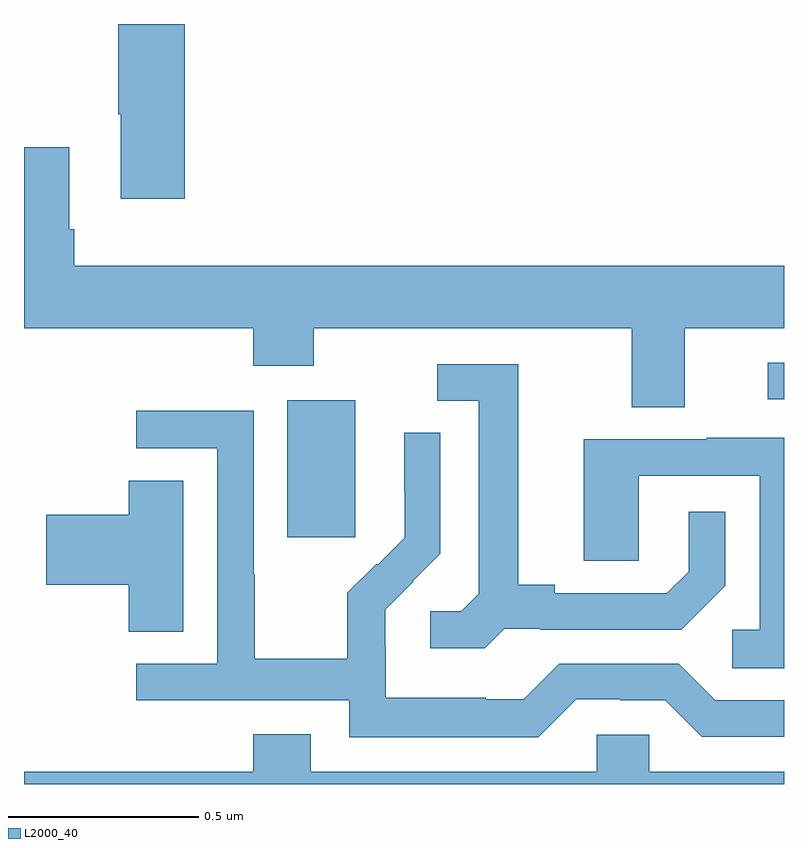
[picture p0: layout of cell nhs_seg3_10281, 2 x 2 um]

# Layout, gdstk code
import gdstk
lib = gdstk.Library(unit=1e-6, precision=1e-09)
def R(c, l, rs):  # rectangles x0, y0, x1, y1
    for r in rs: c.add(gdstk.rectangle(r[:2], r[2:], *l))
def P(c, l, *ps):  # polygons
    for p in ps: c.add(gdstk.Polygon(p, *l))
L2000_40 = (2000, 40)

nhs_seg3_10281 = lib.new_cell('nhs_seg3_10281')
R(nhs_seg3_10281, L2000_40, [(239.693,683.049,239.872,683.41), (240.957,683.412,241,683.508)])
P(nhs_seg3_10281, L2000_40, [(239.423,684.4),(239.248,684.4),(239.248,684.163),(239.255,684.163),(239.255,683.94),(239.423,683.94)],
  [(240.739,683.6),(241,683.6),(241,683.764),(239.132,683.764),(239.132,683.86),(239.119,683.86),(239.119,684.076),(239,684.076),(239,683.6),(239.603,683.6),(239.603,683.501),(239.763,683.501),(239.763,683.6),(240.599,683.6),(240.599,683.392),(240.739,683.392)],
  [(240.264,682.809),(240.358,682.809),(240.358,682.806),(240.73,682.806),(240.846,682.922),(240.846,683.116),(240.749,683.116),(240.749,682.959),(240.692,682.902),(240.397,682.902),(240.397,682.925),(240.301,682.925),(240.301,683.505),(240.087,683.505),(240.087,683.409),(240.197,683.409),(240.197,682.901),(240.15,682.854),(240.069,682.854),(240.069,682.757),(240.212,682.757)],
  [(240.453,682.623),(240.569,682.623),(240.569,682.62),(240.687,682.62),(240.783,682.524),(241,682.524),(241,682.62),(240.819,682.62),(240.723,682.716),(240.408,682.716),(240.315,682.623),(240.215,682.623),(240.215,682.627),(239.952,682.627),(239.952,682.761),(239.95,682.761),(239.95,682.858),(240.024,682.932),(240.023,682.933),(240.096,683.006),(240.096,683.324),(240,683.324),(240,683.17),(240.002,683.17),(240.002,683.048),(239.931,682.977),(239.928,682.98),(239.851,682.903),(239.851,682.729),(239.607,682.729),(239.607,682.952),(239.604,682.952),(239.604,683.382),(239.295,683.382),(239.295,683.283),(239.508,683.283),(239.508,682.716),(239.295,682.716),(239.295,682.62),(239.856,682.62),(239.856,682.523),(240.353,682.523)],
  [(241,683.311),(240.797,683.311),(240.797,683.307),(240.473,683.307),(240.473,682.987),(240.618,682.987),(240.618,683.211),(240.936,683.211),(240.936,682.806),(240.864,682.806),(240.864,682.705),(241,682.705)],
  [(239.419,683.198),(239.276,683.198),(239.276,683.108),(239.058,683.108),(239.058,682.925),(239.276,682.925),(239.276,682.801),(239.419,682.801)],
  [(241,682.432),(240.645,682.432),(240.645,682.53),(240.507,682.53),(240.507,682.432),(239.755,682.432),(239.755,682.531),(239.603,682.531),(239.603,682.432),(239,682.432),(239,682.4),(241,682.4)])

lib.write_gds('nhs_seg3_10281.gds')
